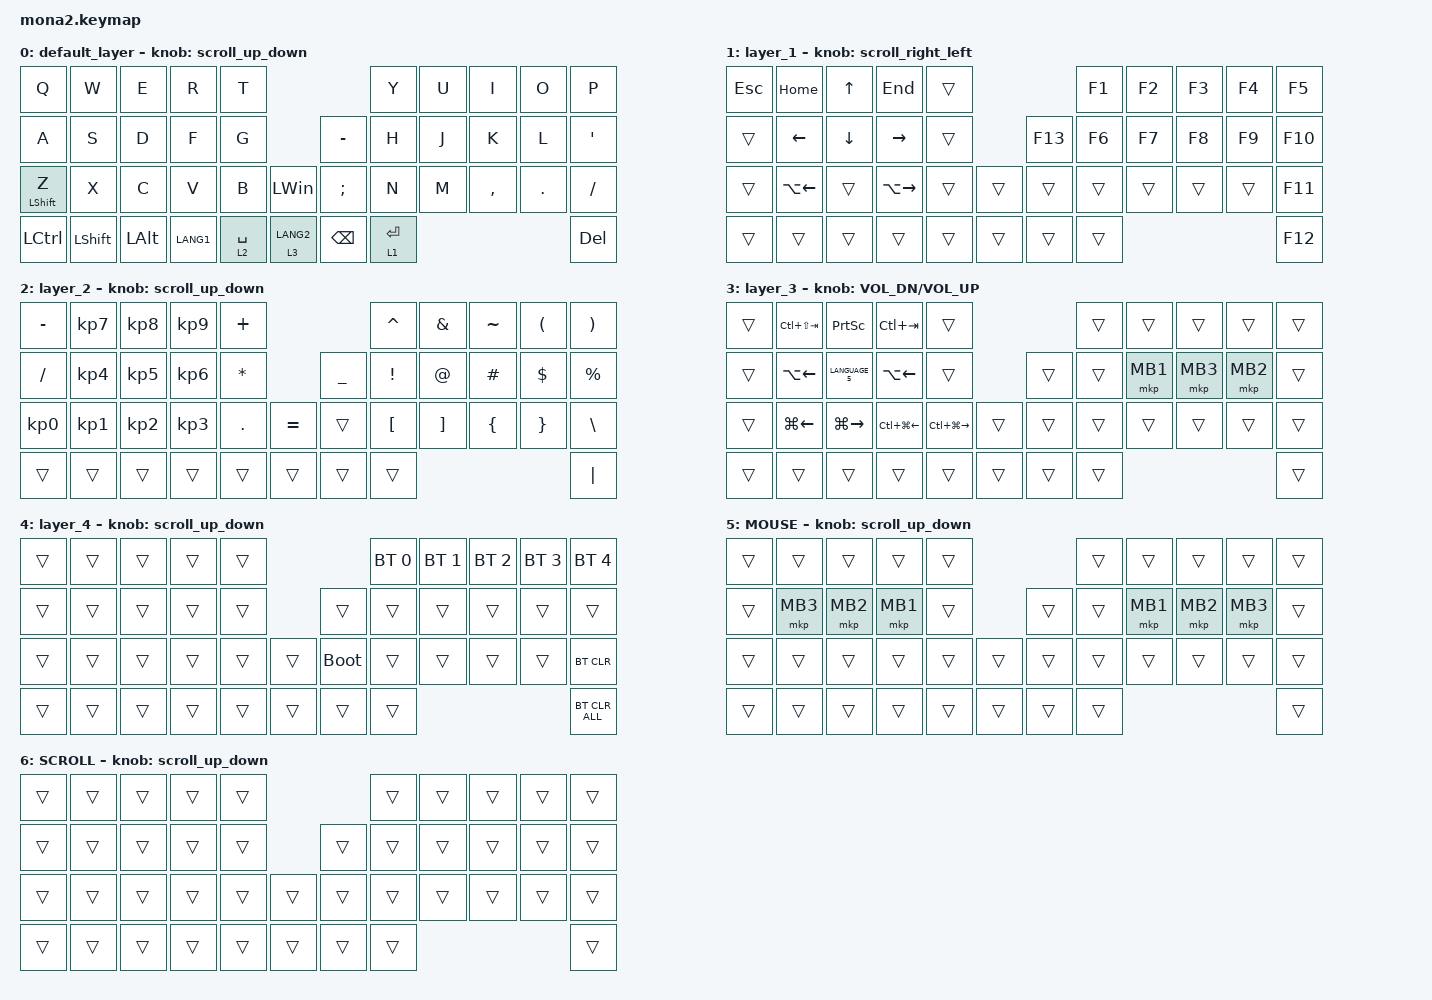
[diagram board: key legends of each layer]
#include <input/processors.dtsi>
#include <dt-bindings/zmk/input_transform.h>
#include <zephyr/dt-bindings/input/input-event-codes.h>
#include <behaviors.dtsi>
#include <dt-bindings/zmk/bt.h>
#include <dt-bindings/zmk/keys.h>
#include <dt-bindings/zmk/pointing.h>

#define ZMK_POINTING_DEFAULT_SCRL_VAL 100
#define MOUSE 5
#define SCROLL 6

&mt {
    flavor = "balanced";
    quick-tap-ms = <0>;
};

&lt {
    quick-tap-ms = <300>;
    flavor = "balanced";
};

/ {
    combos {
        compatible = "zmk,combos";

        layer4_ESC {
            bindings = <&lt 4 ESC>;
            key-positions = <39 38>;
        };

        tab {
            bindings = <&kp TAB>;
            key-positions = <11 12>;
        };
    };

    macros {
        to_layer_0: to_layer_0 {
            compatible = "zmk,behavior-macro-one-param";
            #binding-cells = <1>;
            bindings = <&to 0 &macro_param_1to1 &kp MACRO_PLACEHOLDER>;
            label = "TO_LAYER_0";
        };
    };

    behaviors {
        lt_to_layer_0: lt_to_layer_0 {
            compatible = "zmk,behavior-hold-tap";
            label = "LAYER_TAP_TO_0";
            bindings = <&mo>, <&to_layer_0>;

            #binding-cells = <2>;
            tapping-term-ms = <200>;
        };

        scroll_up_down: mouse_wheel_up_down {
            compatible = "zmk,behavior-sensor-rotate";
            #sensor-binding-cells = <0>;
            bindings = <&msc SCRL_DOWN>, <&msc SCRL_UP>;

            tap-ms = <20>;
        };

        scroll_right_left: mouse_wheel_right_left {
            compatible = "zmk,behavior-sensor-rotate";
            #sensor-binding-cells = <0>;
            bindings = <&msc SCRL_LEFT>, <&msc SCRL_RIGHT>;

            tap-ms = <20>;
        };
    };

    keymap {
        compatible = "zmk,keymap";

        default_layer {
            bindings = <
&kp Q             &kp W           &kp E         &kp R      &kp T                                                 &kp Y        &kp U  &kp I      &kp O    &kp P
&kp A             &kp S           &kp D         &kp F      &kp G                                  &kp MINUS      &kp H        &kp J  &kp K      &kp L    &kp SQT
&mt LEFT_SHIFT Z  &kp X           &kp C         &kp V      &kp B        &kp LEFT_WIN              &kp SEMICOLON  &kp N        &kp M  &kp COMMA  &kp DOT  &kp SLASH
&kp LCTRL         &kp LEFT_SHIFT  &kp LEFT_ALT  &kp LANG1  &lt 2 SPACE  &lt_to_layer_0 3 LANG2    &kp BACKSPACE  &lt 1 ENTER                             &kp DELETE
            >;

            sensor-bindings = <&scroll_up_down>;
        };

        layer_1 {
            bindings = <
&kp ESCAPE  &kp HOME            &kp UP_ARROW    &kp END              &trans                     &kp F1  &kp F2  &kp F3  &kp F4  &kp F5
&trans      &kp LEFT_ARROW      &kp DOWN_ARROW  &kp RIGHT_ARROW      &trans            &kp F13  &kp F6  &kp F7  &kp F8  &kp F9  &kp F10
&trans      &kp LA(LEFT_ARROW)  &trans          &kp LA(RIGHT_ARROW)  &trans  &trans    &trans   &trans  &trans  &trans  &trans  &kp F11
&trans      &trans              &trans          &trans               &trans  &trans    &trans   &trans                          &kp F12
            >;

            sensor-bindings = <&scroll_right_left>;
        };

        layer_2 {
            bindings = <
&kp MINUS        &kp KP_NUMBER_7  &kp KP_NUMBER_8  &kp KP_NUMBER_9  &kp PLUS                                   &kp CARET         &kp AMPERSAND      &kp TILDE       &kp LEFT_PARENTHESIS  &kp RIGHT_PARENTHESIS
&kp SLASH        &kp KP_NUMBER_4  &kp KP_NUMBER_5  &kp KP_NUMBER_6  &kp ASTERISK               &kp UNDERSCORE  &kp EXCLAMATION   &kp AT_SIGN        &kp HASH        &kp DOLLAR            &kp PERCENT
&kp KP_NUMBER_0  &kp KP_NUMBER_1  &kp KP_NUMBER_2  &kp KP_NUMBER_3  &kp PERIOD    &kp EQUAL    &trans          &kp LEFT_BRACKET  &kp RIGHT_BRACKET  &kp LEFT_BRACE  &kp RIGHT_BRACE       &kp BACKSLASH
&trans           &trans           &trans           &trans           &trans        &trans       &trans          &trans                                                                     &kp PIPE
            >;

            sensor-bindings = <&scroll_up_down>;
        };

        layer_3 {
            bindings = <
&trans  &kp LC(LS(TAB))     &kp PRINTSCREEN      &kp LC(TAB)             &trans                                     &trans  &trans    &trans    &trans    &trans
&trans  &kp LA(LEFT_ARROW)  &kp LANGUAGE_5       &kp LA(LEFT_ARROW)      &trans                             &trans  &trans  &mkp MB1  &mkp MB3  &mkp MB2  &trans
&trans  &kp LG(LEFT_ARROW)  &kp LG(RIGHT_ARROW)  &kp LC(LG(LEFT_ARROW))  &kp LC(LG(RIGHT_ARROW))  &trans    &trans  &trans  &trans    &trans    &trans    &trans
&trans  &trans              &trans               &trans                  &trans                   &trans    &trans  &trans                                &trans
            >;

            sensor-bindings = <&inc_dec_kp C_VOL_DN C_VOL_UP>;
        };

        layer_4 {
            bindings = <
&trans  &trans  &trans  &trans  &trans                         &bt BT_SEL 0  &bt BT_SEL 1  &bt BT_SEL 2  &bt BT_SEL 3  &bt BT_SEL 4
&trans  &trans  &trans  &trans  &trans            &trans       &trans        &trans        &trans        &trans        &trans
&trans  &trans  &trans  &trans  &trans  &trans    &bootloader  &trans        &trans        &trans        &trans        &bt BT_CLR
&trans  &trans  &trans  &trans  &trans  &trans    &trans       &trans                                                  &bt BT_CLR_ALL
            >;

            sensor-bindings = <&scroll_up_down>;
        };

        MOUSE {
            bindings = <
&trans  &trans    &trans    &trans    &trans                    &trans  &trans    &trans    &trans    &trans
&trans  &mkp MB3  &mkp MB2  &mkp MB1  &trans            &trans  &trans  &mkp MB1  &mkp MB2  &mkp MB3  &trans
&trans  &trans    &trans    &trans    &trans  &trans    &trans  &trans  &trans    &trans    &trans    &trans
&trans  &trans    &trans    &trans    &trans  &trans    &trans  &trans                                &trans
            >;

            sensor-bindings = <&scroll_up_down>;
        };

        SCROLL {
            bindings = <
&trans  &trans  &trans  &trans  &trans                    &trans  &trans  &trans  &trans  &trans
&trans  &trans  &trans  &trans  &trans            &trans  &trans  &trans  &trans  &trans  &trans
&trans  &trans  &trans  &trans  &trans  &trans    &trans  &trans  &trans  &trans  &trans  &trans
&trans  &trans  &trans  &trans  &trans  &trans    &trans  &trans                          &trans
            >;

            sensor-bindings = <&scroll_up_down>;
        };
    };
};
